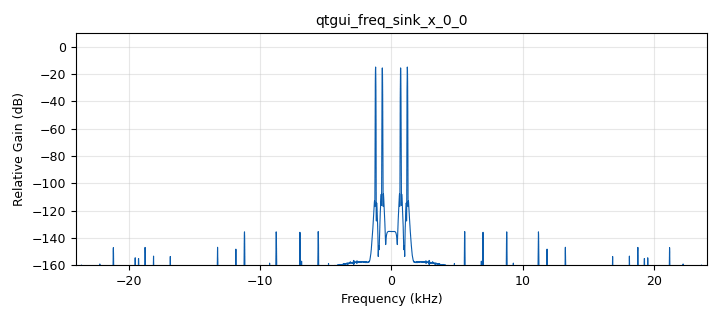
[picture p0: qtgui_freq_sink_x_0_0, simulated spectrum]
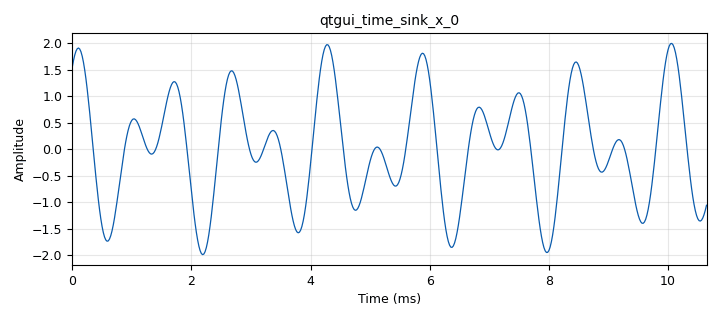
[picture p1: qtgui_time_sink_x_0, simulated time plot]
options:
  parameters:
    author: Michael
    generate_options: qt_gui
    id: DTMF_generator
    output_language: python
    title: DTMF signal generator
  states: {}

blocks:
- name: freq_col_chooser
  id: variable_qtgui_chooser
  parameters:
    gui_hint: '[0, 1, 1, 1]'
    label: Column frequency
    labels: '["1209 Hz","1336 Hz","1477 Hz","1633 Hz"]'
    num_opts: '0'
    options: '[1209, 1336, 1477, 1633]'
    type: real
    value: '1209'
    widget: radio_buttons
  states: {}
- name: freq_row_chooser
  id: variable_qtgui_chooser
  parameters:
    gui_hint: '[0, 0, 1, 1]'
    label: Row frequency
    labels: '["697 Hz", "770 Hz","852 Hz","941 Hz"]'
    num_opts: '0'
    options: '[697, 770, 852, 941]'
    type: real
    value: '697'
    widget: radio_buttons
  states: {}
- name: samp_rate
  id: variable
  parameters:
    value: '48000'
  states: {}
- name: analog_sig_source_x_0
  id: analog_sig_source_x
  parameters:
    amp: '1'
    freq: freq_row_chooser
    offset: '0'
    phase: '0'
    samp_rate: samp_rate
    type: float
    waveform: analog.GR_COS_WAVE
  states: {}
- name: analog_sig_source_x_0_0
  id: analog_sig_source_x
  parameters:
    amp: '1'
    freq: freq_col_chooser
    offset: '0'
    phase: '0'
    samp_rate: samp_rate
    type: float
    waveform: analog.GR_COS_WAVE
  states: {}
- name: audio_sink_0
  id: audio_sink
  parameters:
    samp_rate: samp_rate
  states: {}
- name: blocks_add_xx_0
  id: blocks_add_xx
  parameters:
    type: float
  states: {}
- name: qtgui_freq_sink_x_0_0
  id: qtgui_freq_sink_x
  parameters:
    bw: samp_rate
    fc: '0'
    fftsize: '4096'
    type: float
    ymin: '-160'
  states: {}
- name: qtgui_time_sink_x_0
  id: qtgui_time_sink_x
  parameters:
    autoscale: 'True'
    grid: 'True'
    size: '512'
    srate: samp_rate
    tr_level: '1.65'
    tr_mode: qtgui.TRIG_MODE_AUTO
    type: float
    update_time: '0.010'
  states: {}

connections:
- [analog_sig_source_x_0, '0', blocks_add_xx_0, '0']
- [analog_sig_source_x_0_0, '0', blocks_add_xx_0, '1']
- [blocks_add_xx_0, '0', audio_sink_0, '0']
- [blocks_add_xx_0, '0', qtgui_freq_sink_x_0_0, '0']
- [blocks_add_xx_0, '0', qtgui_time_sink_x_0, '0']

metadata:
  file_format: 1
